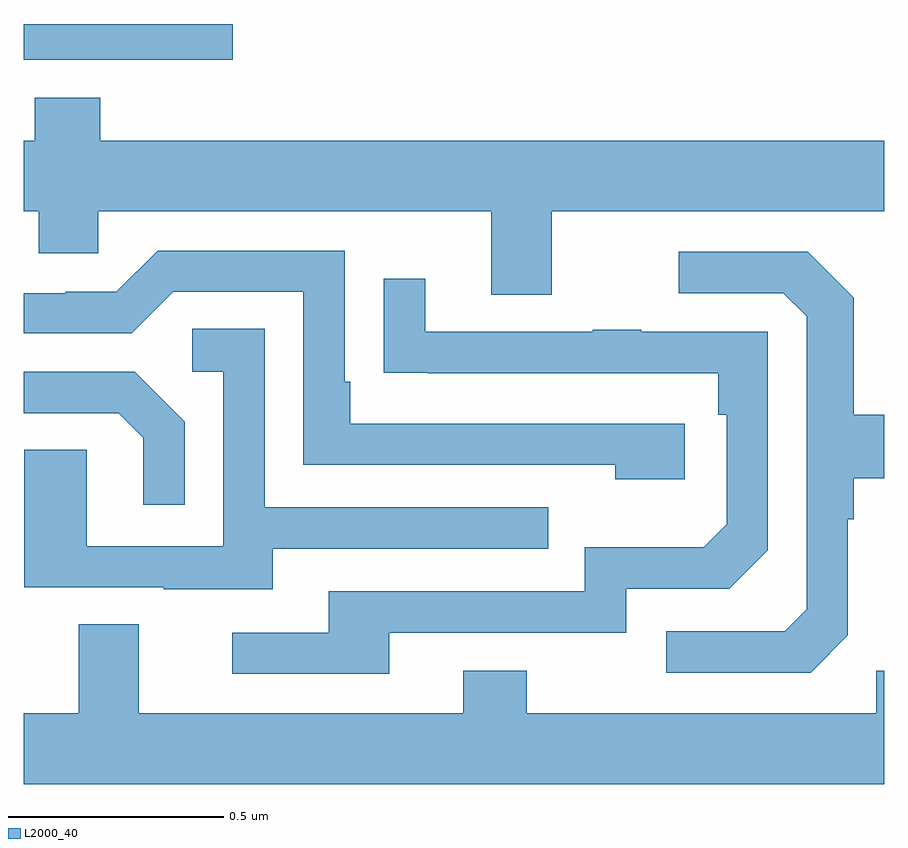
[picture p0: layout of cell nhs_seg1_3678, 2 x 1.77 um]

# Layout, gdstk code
import gdstk
lib = gdstk.Library(unit=1e-6, precision=1e-09)
def R(c, l, rs):  # rectangles x0, y0, x1, y1
    for r in rs: c.add(gdstk.rectangle(r[:2], r[2:], *l))
def P(c, l, *ps):  # polygons
    for p in ps: c.add(gdstk.Polygon(p, *l))
L2000_40 = (2000, 40)

nhs_seg1_3678 = lib.new_cell('nhs_seg1_3678')
R(nhs_seg1_3678, L2000_40, [(157,520.116,157.486,520.199)])
P(nhs_seg1_3678, L2000_40, [(158.227,519.764),(159,519.764),(159,519.928),(157.178,519.928),(157.178,520.027),(157.025,520.027),(157.025,519.928),(157,519.928),(157,519.764),(157.035,519.764),(157.035,519.666),(157.173,519.666),(157.173,519.764),(158.087,519.764),(158.087,519.57),(158.227,519.57)],
  [(158.536,519.27),(157.759,519.27),(157.759,519.367),(157.746,519.367),(157.746,519.672),(157.311,519.672),(157.215,519.576),(157.097,519.576),(157.097,519.573),(157,519.573),(157,519.48),(157.251,519.48),(157.347,519.576),(157.65,519.576),(157.65,519.174),(158.375,519.174),(158.375,519.14),(158.536,519.14)],
  [(158.916,518.778),(158.916,519.047),(158.929,519.047),(158.929,519.143),(159,519.143),(159,519.291),(158.929,519.291),(158.929,519.563),(158.823,519.669),(158.523,519.669),(158.523,519.573),(158.766,519.573),(158.82,519.519),(158.82,518.838),(158.769,518.787),(158.493,518.787),(158.493,518.691),(158.829,518.691)],
  [(157.849,518.784),(158.4,518.784),(158.4,518.886),(158.64,518.886),(158.73,518.976),(158.73,519.483),(158.435,519.483),(158.435,519.488),(158.323,519.488),(158.323,519.483),(157.933,519.483),(157.933,519.607),(157.837,519.607),(157.837,519.388),(157.939,519.388),(157.939,519.387),(158.614,519.387),(158.614,519.29),(158.634,519.29),(158.634,519.036),(158.581,518.983),(158.304,518.983),(158.304,518.88),(157.709,518.88),(157.709,518.784),(157.485,518.784),(157.485,518.688),(157.849,518.688)],
  [(157.579,518.979),(158.219,518.979),(158.219,519.075),(157.56,519.075),(157.56,519.491),(157.392,519.491),(157.392,519.39),(157.464,519.39),(157.464,518.985),(157.146,518.985),(157.146,519.209),(157.001,519.209),(157.001,518.889),(157.325,518.889),(157.325,518.885),(157.579,518.885)],
  [(157.374,519.274),(157.258,519.39),(157,519.39),(157,519.294),(157.22,519.294),(157.277,519.237),(157.277,519.081),(157.374,519.081)],
  [(159,518.695),(158.982,518.695),(158.982,518.596),(158.169,518.596),(158.169,518.695),(158.021,518.695),(158.021,518.596),(157.267,518.596),(157.267,518.804),(157.127,518.804),(157.127,518.596),(157,518.596),(157,518.432),(159,518.432)])

lib.write_gds('nhs_seg1_3678.gds')
